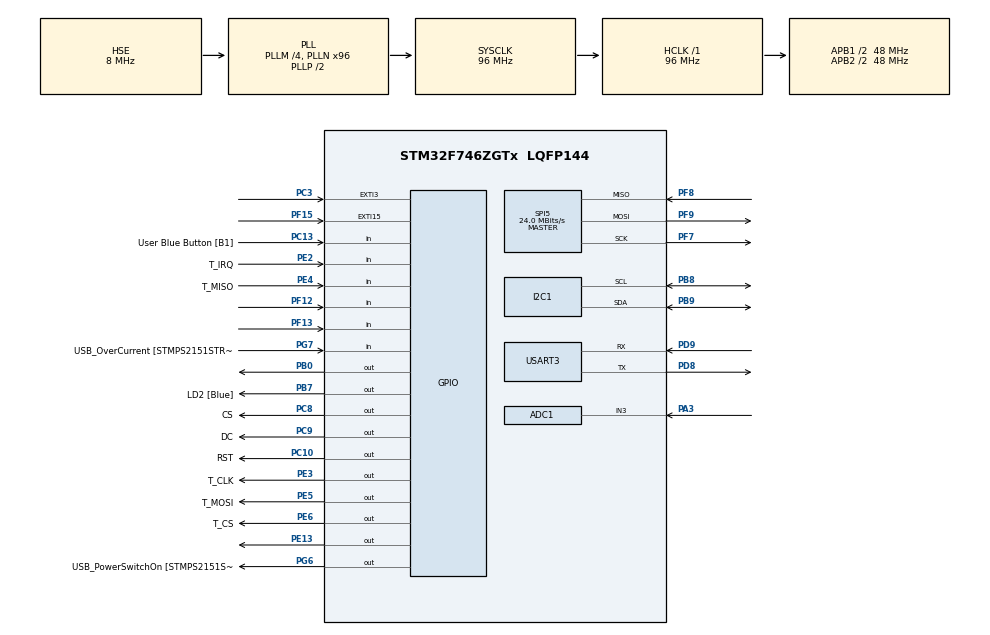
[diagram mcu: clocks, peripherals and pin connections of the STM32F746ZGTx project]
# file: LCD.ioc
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ADC1.Channel-0\#ChannelRegularConversion=ADC_CHANNEL_3
ADC1.ExternalTrigConv=ADC_EXTERNALTRIGCONV_T6_TRGO
ADC1.NbrOfConversionFlag=1
ADC1.Rank-0\#ChannelRegularConversion=1
ADC1.SamplingTime-0\#ChannelRegularConversion=ADC_SAMPLETIME_3CYCLES
ADC1.master=1
CORTEX_M7.ART_ACCLERATOR_ENABLE=1
CORTEX_M7.CPU_DCache=Enabled
CORTEX_M7.CPU_ICache=Enabled
CORTEX_M7.FlashInterface=AXI_Enabled
CORTEX_M7.PREFETCH_ENABLE=1
CORTEX_M7.default_mode_Activation=1
Dma.ADC1.0.Direction=DMA_PERIPH_TO_MEMORY
Dma.ADC1.0.FIFOMode=DMA_FIFOMODE_DISABLE
Dma.ADC1.0.Instance=DMA2_Stream0
Dma.ADC1.0.MemDataAlignment=DMA_MDATAALIGN_HALFWORD
Dma.ADC1.0.MemInc=DMA_MINC_ENABLE
Dma.ADC1.0.Mode=DMA_CIRCULAR
Dma.ADC1.0.PeriphDataAlignment=DMA_PDATAALIGN_HALFWORD
Dma.ADC1.0.PeriphInc=DMA_PINC_DISABLE
Dma.ADC1.0.Priority=DMA_PRIORITY_LOW
Dma.Request0=ADC1
I2C1.Timing=0x20303E5D
Mcu.Family=STM32F7
Mcu.Name=STM32F746ZGTx
Mcu.Package=LQFP144
NVIC.DMA2_Stream0_IRQn=true\:2\:0\:true\:false\:true\:false\:true\:true
NVIC.EXTI15_10_IRQn=true\:1\:0\:true\:false\:true\:true\:true\:true
NVIC.PriorityGroup=NVIC_PRIORITYGROUP_4
PA1.GPIO_Label=RMII_REF_CLK [LAN8742A-CZ-TR_REFCLK0]
PA1.Signal=ETH_REF_CLK
PA10.GPIO_Label=USB_ID
PA10.Signal=USB_OTG_FS_ID
PA11.GPIO_Label=USB_DM
PA11.Signal=USB_OTG_FS_DM
PA12.GPIO_Label=USB_DP
PA12.Signal=USB_OTG_FS_DP
PA13.GPIO_Label=TMS
PA13.Signal=SYS_JTMS-SWDIO
PA14.GPIO_Label=TCK
PA14.Signal=SYS_JTCK-SWCLK
PA2.GPIO_Label=RMII_MDIO [LAN8742A-CZ-TR_MDIO]
PA2.Signal=ETH_MDIO
PA3.Signal=ADCx_IN3
PA7.GPIO_Label=RMII_CRS_DV [LAN8742A-CZ-TR_CRS_DV]
PA7.Signal=ETH_CRS_DV
PA8.GPIO_Label=USB_SOF [TP1]
PA8.Signal=USB_OTG_FS_SOF
PA9.GPIO_Label=USB_VBUS
PA9.Signal=USB_OTG_FS_VBUS
PB0.Signal=GPIO_Output
PB3.GPIO_Label=SWO
PB3.Signal=SYS_JTDO-SWO
PB7.GPIO_Label=LD2 [Blue]
PB7.Signal=GPIO_Output
PB8.Mode=I2C
PB8.Signal=I2C1_SCL
PB9.Mode=I2C
PB9.Signal=I2C1_SDA
PC1.GPIO_Label=RMII_MDC [LAN8742A-CZ-TR_MDC]
PC1.Signal=ETH_MDC
PC10.GPIO_Label=RST
PC10.GPIO_Speed=GPIO_SPEED_FREQ_VERY_HIGH
PC10.Signal=GPIO_Output
PC13.GPIO_Label=User Blue Button [B1]
PC13.Signal=GPIO_Input
PC14/OSC32_IN.Mode=LSE-External-Oscillator
PC14/OSC32_IN.Signal=RCC_OSC32_IN
PC15/OSC32_OUT.Mode=LSE-External-Oscillator
PC15/OSC32_OUT.Signal=RCC_OSC32_OUT
PC3.Signal=GPXTI3
PC4.GPIO_Label=RMII_RXD0 [LAN8742A-CZ-TR_RXD0]
PC4.Signal=ETH_RXD0
PC5.GPIO_Label=RMII_RXD1 [LAN8742A-CZ-TR_RXD1]
PC5.Signal=ETH_RXD1
PC8.GPIO_Label=CS
PC8.GPIO_Speed=GPIO_SPEED_FREQ_VERY_HIGH
PC8.Signal=GPIO_Output
PC9.GPIO_Label=DC
PC9.GPIO_Speed=GPIO_SPEED_FREQ_VERY_HIGH
PC9.Signal=GPIO_Output
PD8.Mode=Asynchronous
PD8.Signal=USART3_TX
PD9.Mode=Asynchronous
PD9.Signal=USART3_RX
PE13.Signal=GPIO_Output
PE2.GPIO_Label=T_IRQ
PE2.GPIO_PuPd=GPIO_NOPULL
PE2.Signal=GPIO_Input
PE3.GPIO_Label=T_CLK
PE3.GPIO_Speed=GPIO_SPEED_FREQ_VERY_HIGH
PE3.Signal=GPIO_Output
PE4.GPIO_Label=T_MISO
PE4.GPIO_PuPd=GPIO_PULLUP
PE4.Signal=GPIO_Input
PE5.GPIO_Label=T_MOSI
PE5.GPIO_PuPd=GPIO_NOPULL
PE5.GPIO_Speed=GPIO_SPEED_FREQ_VERY_HIGH
PE5.Signal=GPIO_Output
PE6.GPIO_Label=T_CS
PE6.GPIO_PuPd=GPIO_NOPULL
PE6.GPIO_Speed=GPIO_SPEED_FREQ_VERY_HIGH
PE6.Signal=GPIO_Output
PF12.Signal=GPIO_Input
PF13.Signal=GPIO_Input
PF15.Signal=GPXTI15
PF7.Mode=Full_Duplex_Master
PF7.Signal=SPI5_SCK
PF8.Mode=Full_Duplex_Master
PF8.Signal=SPI5_MISO
PF9.Mode=Full_Duplex_Master
PF9.Signal=SPI5_MOSI
PG11.GPIO_Label=RMII_TX_EN [LAN8742A-CZ-TR_TXEN]
PG11.Signal=ETH_TX_EN
PG13.GPIO_Label=RMII_TXD0 [LAN8742A-CZ-TR_TXD0]
PG13.Signal=ETH_TXD0
PG6.GPIO_Label=USB_PowerSwitchOn [STMPS2151STR_EN]
PG6.Signal=GPIO_Output
PG7.GPIO_Label=USB_OverCurrent [STMPS2151STR_FAULT]
PG7.Signal=GPIO_Input
PH0/OSC_IN.GPIO_Label=MCO [STM32F103CBT6_PA8]
PH0/OSC_IN.Mode=HSE-External-Clock-Source
PH0/OSC_IN.Signal=RCC_OSC_IN
PH1/OSC_OUT.Mode=HSE-External-Clock-Source
PH1/OSC_OUT.Signal=RCC_OSC_OUT
ProjectManager.HeapSize=0x200
ProjectManager.StackSize=0x400
ProjectManager.TargetToolchain=STM32CubeIDE
RCC.48MHZClocksFreq_Value=24000000
RCC.AHBFreq_Value=96000000
RCC.APB1CLKDivider=RCC_HCLK_DIV2
RCC.APB1Freq_Value=48000000
RCC.APB1TimFreq_Value=96000000
RCC.APB2CLKDivider=RCC_HCLK_DIV2
RCC.APB2Freq_Value=48000000
RCC.APB2TimFreq_Value=96000000
RCC.CortexFreq_Value=96000000
RCC.HCLKFreq_Value=96000000
RCC.HSE_VALUE=8000000
RCC.HSI_VALUE=16000000
RCC.PLLM=4
RCC.PLLMUL=RCC_PLL_MUL9
RCC.PLLN=96
RCC.PLLQ=4
RCC.PLLSourceVirtual=RCC_PLLSOURCE_HSE
RCC.PRESCALERUSB=RCC_USBCLKSOURCE_PLL_DIV1_5
RCC.SYSCLKFreq_VALUE=96000000
RCC.SYSCLKSource=RCC_SYSCLKSOURCE_PLLCLK
RCC.SYSCLKSourceVirtual=RCC_SYSCLKSOURCE_PLLCLK
RCC.USBFreq_Value=48000000
RCC.VCOOutputFreq_Value=192000000
SH.ADCx_IN3.0=ADC1_IN3,IN3
SPI5.BaudRatePrescaler=SPI_BAUDRATEPRESCALER_2
SPI5.CalculateBaudRate=24.0 MBits/s
SPI5.DataSize=SPI_DATASIZE_8BIT
SPI5.Direction=SPI_DIRECTION_2LINES
SPI5.Mode=SPI_MODE_MASTER
SPI5.NSSPMode=SPI_NSS_PULSE_DISABLE
SPI5.VirtualType=VM_MASTER
TIM2.Prescaler=95
TIM6.Period=2499
TIM6.Prescaler=95
TIM6.TIM_MasterOutputTrigger=TIM_TRGO_UPDATE
USART3.VirtualMode-Asynchronous=VM_ASYNC
VP_RNG_VS_RNG.Mode=RNG_Activate
VP_TIM2_VS_ClockSourceINT.Mode=Internal
VP_TIM6_VS_ClockSourceINT.Mode=Enable_Timer
board=NUCLEO-F746ZG

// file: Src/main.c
/* USER CODE BEGIN Header */
/**
  ******************************************************************************
  * @file           : main.c
  * @brief          : Main program body (LCD + sensors merged)
  ******************************************************************************
  * @attention
  *
  * Copyright (c) 2026 STMicroelectronics.
  * All rights reserved.
  *
  * This software is licensed under terms that can be found in the LICENSE file
  * in the root directory of this software component.
  * If no LICENSE file comes with this software, it is provided AS-IS.
  *
  ******************************************************************************
  */
/* USER CODE END Header */
#include "main.h"
#include "adc.h"
#include "dma.h"
#include "i2c.h"
#include "rng.h"
#include "spi.h"
#include "tim.h"
#include "usart.h"
#include "gpio.h"

/* USER CODE BEGIN Includes */
#include <stdio.h>
#include <string.h>
#include <math.h>

/* Sensor side (included first so the ILI9341 colour macros RED/GREEN/... cannot leak into these headers) */
#include "ecg_rpeak.h"
#include "max30102.h"
#include "pwv_metrics.h"

/* LCD side */
#include "lcd_module.h"
#include "ILI9341_Touchscreen.h"      // TP_Touchpad_Pressed
#include "ILI9341_STM32_Driver.h"     // ILI9341_Init
#include "ILI9341_GFX.h"
/* USER CODE END Includes */

/* USER CODE BEGIN PD */
#define ECG_BUF_LEN      512
#define ECG_HALF         (ECG_BUF_LEN / 2)
#define ECG_AVG_N        8      /* ต้องเป็นยกกำลัง 2 (ที่ 200 Hz ค่า 4 ตัด 50 Hz พอดี)  ไฟบ้าน 50 เลยใช่ 4 200/50 = 4*/
#define ECG_UART_ENABLE  1
/* 1 = print the [DMA] ADC/DMA register line every 2 s. It uses HAL_Delay(5) inside the main loop,
 * so leave it 0 normally and only switch it on to debug the ECG chain. */
#define ECG_DEBUG_UART   0
#define ECG_FILTER_DELAY_US  (((ECG_AVG_N - 1U) * 1000000UL) / (2U * ECG_FS_HZ))

/* LCD: draw ~100 ECG columns per second (one sweep of 320 px = ~3.2 s). Increase to sweep slower. */
#define ECG_DISP_DECIM   ((ECG_FS_HZ) / 100U)

/* Pins used by the sensor side (PE13 = D3 buzzer, PB0 = LD1). Skipped if main.h already defines them. */
#ifndef BUZZER_PORT
#define BUZZER_PORT      GPIOE
#define BUZZER_PIN       GPIO_PIN_13
#endif
#ifndef LED1_PORT
#define LED1_PORT        GPIOB
#define LED1_PIN         GPIO_PIN_0
#endif
/* USER CODE END PD */

/* USER CODE BEGIN PV */
/* ---- LCD ---- */
/* Everything the LCD draws (t_collected_data from lcd_module.h), filled by lcd_collect() */
static t_collected_data data = { .is_finger = 0, .height = 0 };

/* ---- Sensors ---- */
/* ตัวแปรและฟังก์ชันควบคุม Buzzer แจ้งเตือน 3 วินาที (Non-blocking) */
static uint32_t s_buzzer_off_tick = 0;
static uint8_t  s_session_started = 0;

static inline void buzzer_trigger_3s(void)
{
  HAL_GPIO_WritePin(BUZZER_PORT, BUZZER_PIN, GPIO_PIN_SET);
  HAL_GPIO_WritePin(LED1_PORT, LED1_PIN, GPIO_PIN_SET);
  s_buzzer_off_tick = HAL_GetTick() + 3000;
}

static inline void buzzer_update(void)
{
//  if (s_buzzer_off_tick > 0 && HAL_GetTick() >= s_buzzer_off_tick)
//  {
//    HAL_GPIO_WritePin(BUZZER_PORT, BUZZER_PIN, GPIO_PIN_RESET);
//    HAL_GPIO_WritePin(LED1_PORT, LED1_PIN, GPIO_PIN_RESET);
//    s_buzzer_off_tick = 0;
//  }
}

__attribute__((aligned(32))) uint16_t ecg_buf[ECG_BUF_LEN];

/* ค่าที่กรองแล้ว ตำแหน่งตรงกับ ecg_buf ใช้ดูเป็น Array ใน CubeMonitor */
volatile uint16_t ecg_filt[ECG_BUF_LEN];
/* ค่าล่าสุดที่กรองแล้ว ใช้ทำกราฟ time series ใน CubeMonitor */
volatile uint16_t ecg_monitor = 0;

/* ตัวแปรสำหรับแสดงผลกราฟ PPG, IR AC, Red AC ใน STM32CubeMonitor และ Serial Plotter */
volatile uint16_t ppg_monitor    = 2048;         /* สัญญาณ PPG AC (IR AC) สเกลเดียวกับ ECG (0 - 4095) */
volatile uint16_t ir_ac_monitor  = 2048;         /* สัญญาณ IR AC (Infrared) สเกล 0 - 4095 กึ่งกลางที่ 2048 */
volatile uint16_t red_ac_monitor = 2048;         /* สัญญาณ Red AC (แสงสีแดง) สเกล 0 - 4095 กึ่งกลางที่ 2048 */
volatile uint32_t ppg_ir_raw     = 0;            /* สัญญาณดิบ Infrared จาก MAX30102 */
volatile uint16_t ppg_filt[ECG_BUF_LEN];        /* บัฟเฟอร์ PPG array สำหรับดูรูปคลื่นคู่กับ ecg_filt */

static uint16_t last_idx = 0;
static uint16_t avg_hist[ECG_AVG_N];
static uint32_t avg_sum = 0;
static uint8_t  avg_k = 0;

#if ECG_UART_ENABLE
static uint32_t last_r_cnt = 0;
#endif
/* USER CODE END PV */

void SystemClock_Config(void);
static void MPU_Config(void);
/* USER CODE BEGIN PFP */
static uint8_t contact_valid(const PWV_Metrics_t *m, uint32_t cur_ir);
static void    lcd_collect(const PWV_Metrics_t *m, uint32_t cur_ir);
static void    height_apply_once(void);
static void    sensor_task(void);
static void    uart_report_task(void);
static void    lcd_task(void);
/* USER CODE END PFP */

/* USER CODE BEGIN 0 */
/**
* @brief  TIM2 Period-Elapsed callback — เรียกทุก 5 ms (200 Hz)
*         อ่าน ADC แล้วส่งผ่าน ecg_filter() → rpeak_update()
*/

/* moving average ECG_AVG_N จุด */
static inline uint16_t ecg_filter(uint16_t x)
{
  avg_sum += (uint32_t)x - avg_hist[avg_k];
  avg_hist[avg_k] = x;
  avg_k = (avg_k + 1) & (ECG_AVG_N - 1);
  return (uint16_t)(avg_sum / ECG_AVG_N);
}

/* ---- HRV (RMSSD) from the ECG R-R intervals ----
 * RMSSD = sqrt( mean( (RR[i+1] - RR[i])^2 ) ) over the last HRV_N accepted intervals.
 * Intervals outside 300..2000 ms, or jumping > 30 % from the previous one, are treated as
 * artifacts (missed / extra R peak) and skipped. After 3 skips in a row the gate re-seeds. */
#define HRV_N        30
#define HRV_MIN_N    10     /* need at least this many intervals before reporting */
static uint16_t hrv_rr[HRV_N];
static uint8_t  hrv_head = 0;
static uint8_t  hrv_cnt  = 0;
static float    hrv_rmssd_ms = 0.0f;

static void hrv_add_rr(uint32_t rr_ms)
{
  static uint16_t prev = 0;
  static uint8_t  rejected = 0;

  if (rr_ms < 300U || rr_ms > 2000U) return;

  if (prev != 0U && rejected < 3U)
  {
    uint32_t d = (rr_ms > prev) ? (rr_ms - prev) : (prev - rr_ms);
    if (d * 100U > 30U * (uint32_t)prev) { rejected++; return; }
  }
  rejected = 0;
  prev = (uint16_t)rr_ms;

  hrv_rr[hrv_head] = prev;
  hrv_head = (uint8_t)((hrv_head + 1U) % HRV_N);
  if (hrv_cnt < HRV_N) hrv_cnt++;

  if (hrv_cnt >= HRV_MIN_N)
  {
    uint8_t  i = (uint8_t)((hrv_head + HRV_N - hrv_cnt) % HRV_N);   /* oldest */
    float    sum = 0.0f;
    for (uint8_t k = 1; k < hrv_cnt; k++)
    {
      uint8_t j = (uint8_t)((i + 1U) % HRV_N);
      float   d = (float)hrv_rr[j] - (float)hrv_rr[i];
      sum += d * d;
      i = j;
    }
    hrv_rmssd_ms = sqrtf(sum / (float)(hrv_cnt - 1U));
  }
}

/* ADC overrun recovery: once ADC1->SR.OVR is set, the DMA stops getting requests
 * (NDTR frozen, EOC stuck at 1). Clear it and restart the circular DMA. */
static volatile uint32_t adc_ovr_count = 0;
static void adc_recover_if_overrun(void)
{
  if (ADC1->SR & ADC_SR_OVR)
  {
    adc_ovr_count++;
    HAL_ADC_Stop_DMA(&hadc1);
    __HAL_ADC_CLEAR_FLAG(&hadc1, ADC_FLAG_OVR);
    last_idx = 0;                                   /* DMA restarts at index 0 */
    HAL_ADC_Start_DMA(&hadc1, (uint32_t *)ecg_buf, ECG_BUF_LEN);
    ADC1->CR2 |= ADC_CR2_DDS;
  }
}

/* ประมวลผลทุกตัวอย่างใหม่ที่ DMA เขียนเข้ามา */
static void ecg_process(void)
{
  adc_recover_if_overrun();

  uint16_t idx = ECG_BUF_LEN - (uint16_t)__HAL_DMA_GET_COUNTER(hadc1.DMA_Handle);
  if (idx >= ECG_BUF_LEN) idx = 0;

  if (idx == last_idx) return;

  /* ถ้าเปิด D-Cache ไว้ ต้อง invalidate ก่อนอ่านข้อมูลที่ DMA เขียน */
  if (SCB->CCR & SCB_CCR_DC_Msk)
  {
    SCB_InvalidateDCache_by_Addr((uint32_t *)ecg_buf, sizeof(ecg_buf));
  }

  while (last_idx != idx)
  {
    uint16_t y = ecg_filter(ecg_buf[last_idx]);
    ecg_filt[last_idx] = y;
    ecg_monitor = y;
    ppg_filt[last_idx] = ppg_monitor;

    rpeak_update(y);
    if (r_peak_count != last_r_cnt)
    {
        last_r_cnt = r_peak_count;
        uint32_t t_r = r_peak_time_us - ECG_FILTER_DELAY_US;      /* หักดีเลย์ตัวกรองแล้ว */
        pwv_metrics_feed_ecg_rpeak(t_r, heart_rate_bpm, rr_last_ms);
        hrv_add_rr((uint32_t)rr_last_ms);
    }

    /* LCD: draw every ECG_DISP_DECIM-th filtered sample (does nothing unless the main screen is showing) */
    {
      static uint8_t disp_cnt = 0;
      if (++disp_cnt >= ECG_DISP_DECIM)
      {
        disp_cnt = 0;
        display_ecg_push(y);
      }
    }

    last_idx = (last_idx + 1) % ECG_BUF_LEN;
  }
}

#if ECG_UART_ENABLE
void HAL_ADC_ConvHalfCpltCallback(ADC_HandleTypeDef *hadc)
{
  (void)hadc;
}

void HAL_ADC_ConvCpltCallback(ADC_HandleTypeDef *hadc)
{
  (void)hadc;
}
#endif
/* USER CODE END 0 */

int main(void)
{

  /* MPU Configuration--------------------------------------------------------*/
  MPU_Config();

  /* Enable the CPU Cache */

  /* Enable I-Cache---------------------------------------------------------*/
  SCB_EnableICache();

  /* Enable D-Cache---------------------------------------------------------*/
  SCB_EnableDCache();

  /* MCU Configuration--------------------------------------------------------*/

  /* Reset of all peripherals, Initializes the Flash interface and the Systick. */
  HAL_Init();

  /* Configure the system clock */
  SystemClock_Config();

  /* Initialize all configured peripherals */
  MX_GPIO_Init();
  MX_DMA_Init();
  MX_RNG_Init();
  MX_SPI5_Init();
  MX_ADC1_Init();
  MX_I2C1_Init();
  MX_TIM2_Init();
  MX_TIM6_Init();
  MX_USART3_UART_Init();
  /* USER CODE BEGIN 2 */
  /* ---- LCD first: ILI9341_Init() blocks for > 1 s, so it must run before the ADC/DMA and timers start ---- */
  ILI9341_Init();
  display_init();
  display_ecg_set_scale(ECG_SCALE_AUTO, 250);

  /* ---- Sensors ---- */
  rpeak_init();
  /* adc.c is generated with DMAContinuousRequests = DISABLE (DDS = 0): the ADC then stops issuing
   * DMA requests after the first full circular pass -> OVR. Force it on here. Also fix it in
   * CubeMX (ADC1 > Parameter Settings > DMA Continuous Requests = Enabled) so regeneration keeps it. */
  hadc1.Init.DMAContinuousRequests = ENABLE;
  HAL_StatusTypeDef adc_st = HAL_ADC_Start_DMA(&hadc1, (uint32_t *)ecg_buf, ECG_BUF_LEN);
  ADC1->CR2 |= ADC_CR2_DDS;   /* force DDS = 1 in hardware; do not rely on the HAL to apply the Init field */
  {
    /* TEMP debug: 0 = OK. Remove when the ECG works. */
    char b[40];
    int n = snprintf(b, sizeof(b), "ADC DMA start: %d\r\n", (int)adc_st);
    HAL_UART_Transmit(&huart3, (uint8_t *)b, (uint16_t)n, 100);
  }
  HAL_TIM_Base_Start(&htim2);
  HAL_TIM_Base_Start(&htim6);                        /* เริ่ม trigger ADC 400 Hz */
  rpeak_set_t0(__HAL_TIM_GET_COUNTER(&htim2));       /* จดเวลา TIM2 ทันทีหลังเริ่ม TIM6 */

  /* PWV metrics init. Height = default of the height page (175 cm) until the user presses OK. */
  pwv_metrics_init(0.0f);
  pwv_metrics_set_height_cm((float)display_get_height());   /* arm length L = height * 0.45 / 100 m */

  /* เริ่มต้นเซนเซอร์ MAX30102 */
  if (max30102_init(&hi2c1) == HAL_OK)
  {
    const char *msg = "MAX30102 Init OK\r\n";
    HAL_UART_Transmit(&huart3, (uint8_t *)msg, (uint16_t)strlen(msg), 100);
  }
  else
  {
    const char *msg = "MAX30102 Init Failed\r\n";
    HAL_UART_Transmit(&huart3, (uint8_t *)msg, (uint16_t)strlen(msg), 100);
  }
  /* USER CODE END 2 */

  /* Infinite loop */
  while (1)
  {

    /* USER CODE BEGIN 3 */
    sensor_task();          /* ECG DMA samples, MAX30102 FIFO, PWV metrics: keep this loop fast, no HAL_Delay here */
    uart_report_task();     /* Tera Term report + finger-loss handling, every 2 s */
    lcd_task();             /* touch + screen refresh */
  }
  /* USER CODE END 3 */
}

void SystemClock_Config(void)
{
  RCC_OscInitTypeDef RCC_OscInitStruct = {0};
  RCC_ClkInitTypeDef RCC_ClkInitStruct = {0};

  /** Configure LSE Drive Capability
  */
  HAL_PWR_EnableBkUpAccess();

  /** Configure the main internal regulator output voltage
  */
  __HAL_RCC_PWR_CLK_ENABLE();
  __HAL_PWR_VOLTAGESCALING_CONFIG(PWR_REGULATOR_VOLTAGE_SCALE3);

  /** Initializes the RCC Oscillators according to the specified parameters
  * in the RCC_OscInitTypeDef structure.
  */
  RCC_OscInitStruct.OscillatorType = RCC_OSCILLATORTYPE_HSE;
  RCC_OscInitStruct.HSEState = RCC_HSE_BYPASS;
  RCC_OscInitStruct.PLL.PLLState = RCC_PLL_ON;
  RCC_OscInitStruct.PLL.PLLSource = RCC_PLLSOURCE_HSE;
  RCC_OscInitStruct.PLL.PLLM = 4;
  RCC_OscInitStruct.PLL.PLLN = 96;
  RCC_OscInitStruct.PLL.PLLP = RCC_PLLP_DIV2;
  RCC_OscInitStruct.PLL.PLLQ = 4;
  if (HAL_RCC_OscConfig(&RCC_OscInitStruct) != HAL_OK)
  {
    Error_Handler();
  }

  /** Activate the Over-Drive mode
  */
  if (HAL_PWREx_EnableOverDrive() != HAL_OK)
  {
    Error_Handler();
  }

  /** Initializes the CPU, AHB and APB buses clocks
  */
  RCC_ClkInitStruct.ClockType = RCC_CLOCKTYPE_HCLK|RCC_CLOCKTYPE_SYSCLK
                              |RCC_CLOCKTYPE_PCLK1|RCC_CLOCKTYPE_PCLK2;
  RCC_ClkInitStruct.SYSCLKSource = RCC_SYSCLKSOURCE_PLLCLK;
  RCC_ClkInitStruct.AHBCLKDivider = RCC_SYSCLK_DIV1;
  RCC_ClkInitStruct.APB1CLKDivider = RCC_HCLK_DIV2;
  RCC_ClkInitStruct.APB2CLKDivider = RCC_HCLK_DIV2;

  if (HAL_RCC_ClockConfig(&RCC_ClkInitStruct, FLASH_LATENCY_3) != HAL_OK)
  {
    Error_Handler();
  }
}

/* USER CODE BEGIN 4 */
void HAL_GPIO_EXTI_Callback(uint16_t GPIO_Pin)
{
  if (GPIO_Pin == GPIO_PIN_15) /* สัญญาณ Interrupt จาก MAX30102 */
  {
    max30102_interrupt_handler(__HAL_TIM_GET_COUNTER(&htim2));
  }
}

/* เงื่อนไขสัญญาณผ่านเกณฑ์ทางการแพทย์: มีนิ้ว และ PI >= 0.4% (ไม่เกิน 20.0%) */
static uint8_t contact_valid(const PWV_Metrics_t *m, uint32_t cur_ir)
{
  return (cur_ir >= 10000 && m->finger_detected && m->pi_pct >= 0.4f && m->pi_pct <= 20.0f);
}

/* Sensors + height page -> t_collected_data (what display_update() draws) */
static void lcd_collect(const PWV_Metrics_t *m, uint32_t cur_ir)
{
  data.is_finger = contact_valid(m, cur_ir);
  data.bpm       = (uint16_t)m->hr_bpm;
  data.pi        = m->pi_pct;

  /* SpO2: 10 s average once the baseline is locked, running value before that */
  float spo2 = m->baseline_locked ? m->spo2_avg_10s : m->spo2_pct;
  data.spo2 = (uint8_t)(spo2 + 0.5f);

  /* Vascular age: a new value is taken only when the baseline is locked and valid. It is then HELD,
   * so it stays on the LCD after the finger is lifted (pwv_metrics_init() on finger loss clears the
   * module's own value, but not this copy). It shows 0 until the first lock. A later lock replaces it. */
  {
    static float s_vage_held = 0.0f;
    if (m->baseline_locked && m->height_ready && m->pwv_mps > 0.0f && m->vascular_age > 0.0f)
    {
      s_vage_held = m->vascular_age;
    }
    data.vascular_age = s_vage_held;
  }

  /* Height [cm]: stays 0 until OK is pressed on the height page, then holds the entered value.
   * (display_update() takes a const pointer, so the display layer cannot write it for us.) */
  if (display_get_screen() != SCREEN_HEIGHT)
  {
    data.height = display_get_height();
  }

  /* HRV: RMSSD in ms, 0 until HRV_MIN_N valid R-R intervals have been collected */
  data.hrv_rmssd = (hrv_cnt >= HRV_MIN_N) ? hrv_rmssd_ms : 0.0f;

  /* TODO: not provided by the sensor code yet -> data.bp_sys, data.bp_dia stay at 0 */
}

static void sensor_task(void)
{
  ecg_process();

  /* อ่านข้อมูลตัวอย่างจาก MAX30102 เข้า Ring Buffer */
  max30102_process_fifo();

  uint32_t ppg_red = 0, ppg_ir = 0, ppg_ts = 0;
  while (max30102_pop_sample(&ppg_red, &ppg_ir, &ppg_ts))
  {
    /* ป้อนข้อมูล PPG พร้อม Timestamp จาก TIM2 เข้าสู่ระบบประมวลผล */
    pwv_metrics_feed_ppg(ppg_red, ppg_ir, ppg_ts);
    ppg_ir_raw = ppg_ir;
    ir_ac_monitor = pwv_metrics_get_ir_ac_plot();
    red_ac_monitor = pwv_metrics_get_red_ac_plot();
    ppg_monitor = ir_ac_monitor;
  }

  /* อัปเดตสถานะ Buzzer (ดับเองอัตโนมัติเมื่อครบ 3 วินาทีแบบ Non-blocking ไม่บล็อกระบบ) */
  buzzer_update();
}

/* ตรวจสอบสถานะและรายงานผลออกทาง UART (Tera Term) ทุกๆ 2 วินาที */
static void uart_report_task(void)
{
  static uint32_t last_report_tick = 0;
  if (HAL_GetTick() - last_report_tick < 2000)
  {
    return;
  }
  last_report_tick = HAL_GetTick();

  if (!max30102_is_ready())
  {
    max30102_init(&hi2c1);
  }

  PWV_Metrics_t m;
  pwv_metrics_get(&m);
  uint32_t cur_ir = max30102_get_last_ir();
  char rep_str[220];
  int len;

  /* เงื่อนไขสัญญาณผ่านเกณฑ์ทางการแพทย์: มีนิ้ว และ PI >= 0.4% (ไม่เกิน 20.0%) */
  uint8_t valid = contact_valid(&m, cur_ir);

  if (valid)
  {
    /* วางนิ้วแล้วตรวจพบสัญญาณผ่านเกณฑ์รอบแรก -> บันทึกว่า session เริ่มต้นแล้ว */
    s_session_started = 1;

    int spo2_10s_i = (int)m.spo2_avg_10s;
    int spo2_10s_f = (int)((m.spo2_avg_10s - (float)spo2_10s_i) * 10.0f + 0.5f);
    if (spo2_10s_f >= 10) { spo2_10s_i++; spo2_10s_f = 0; }

    int pi_i = (int)m.pi_pct;
    int pi_f = (int)((m.pi_pct - (float)pi_i) * 100.0f + 0.5f);
    if (pi_f >= 100) { pi_i++; pi_f = 0; }

    int ptt_i = (int)m.ptt_ms;
    int ptt_f = (int)((m.ptt_ms - (float)ptt_i) * 10.0f + 0.5f);
    if (ptt_f >= 10) { ptt_i++; ptt_f = 0; }

    if (m.baseline_locked)
    {
      /* หลัง 20 วินาที: ล็อก PTT และ อายุหลอดเลือดไว้คงที่ พร้อมแสดง SpO2 เฉลี่ยทุก 10 วินาที */
      if (m.height_ready && m.pwv_mps > 0.0f)
      {
        int pwv_i = (int)m.pwv_mps;
        int pwv_f = (int)((m.pwv_mps - (float)pwv_i) * 100.0f + 0.5f);
        if (pwv_f >= 100) { pwv_i++; pwv_f = 0; }
        int vage = (int)(m.vascular_age + 0.5f);
        len = snprintf(rep_str, sizeof(rep_str),
                       "[A-08 2s] ECG_HR:%u bpm | PTT:%d.%d ms (LOCKED) | PWV:%d.%02d m/s | V-Age:%d yr (LOCKED) | SpO2:%d.%d%% (10s Avg) | PI:%d.%02d%%\r\n",
                       (unsigned int)m.hr_bpm, ptt_i, ptt_f, pwv_i, pwv_f, vage, spo2_10s_i, spo2_10s_f, pi_i, pi_f);
      }
      else
      {
        len = snprintf(rep_str, sizeof(rep_str),
                       "[A-08 2s] ECG_HR:%u bpm | PTT:%d.%d ms (LOCKED) | SpO2:%d.%d%% (10s Avg) | PI:%d.%02d%%\r\n",
                       (unsigned int)m.hr_bpm, ptt_i, ptt_f, spo2_10s_i, spo2_10s_f, pi_i, pi_f);
      }
    }
    else
    {
      /* ในช่วง 20 วินาทีแรก: แสดงค่า PTT สะสม และเปอร์เซ็นต์นับถอยหลังการเก็บ Baseline */
      int spo2_i = (int)m.spo2_pct;
      int spo2_f = (int)((m.spo2_pct - (float)spo2_i) * 10.0f + 0.5f);
      if (spo2_f >= 10) { spo2_i++; spo2_f = 0; }

      len = snprintf(rep_str, sizeof(rep_str),
                     "[A-08 2s] ECG_HR:%u bpm | PTT:%d.%d ms | SpO2:%d.%d%% | PI:%d.%02d%% | [Baseline 20s: %u%%]\r\n",
                     (unsigned int)m.hr_bpm, ptt_i, ptt_f, spo2_i, spo2_f, pi_i, pi_f, (unsigned int)m.calib_progress_pct);
    }
  }
  else
  {
    /* สัญญาณไม่ผ่านเกณฑ์ (PI < 0.4% หรือ ไม่มีนิ้ว) -> ห้ามขึ้นค่าต่างๆ ที่ MAX30102 อ่านได้เลย! */
    if (s_session_started)
    {
      /* เคยตรวจพบ finger detect รอบแรกแล้ว แต่เกิดขยับนิ้ว หรือ PI < 0.4% หรือนิ้วหลุด:
       * 1. สั่ง Buzzer ดัง 3 วินาที
       * 2. Reset ค่า finger detect รอบแรกและรีเซ็ต baseline เพื่อเริ่มใหม่ */
      buzzer_trigger_3s();
      s_session_started = 0;
      pwv_metrics_init(0.0f);
      pwv_metrics_set_height_cm((float)display_get_height());   /* keep the height the user entered */

      int pi_i = (int)m.pi_pct;
      int pi_f = (int)((m.pi_pct - (float)pi_i) * 100.0f + 0.5f);
      if (pi_f >= 100) { pi_i++; pi_f = 0; }

      len = snprintf(rep_str, sizeof(rep_str),
                     "[A-08 2s] ECG_HR:%u bpm | [WARN] PI < 0.4%% (PI:%d.%02d%%) / Finger Lost -> BUZZER ON (3s) & RESET!\r\n",
                     (unsigned int)m.hr_bpm, pi_i, pi_f);
    }
    else
    {
      /* สถานะรอนิ้วรอบแรก: แสดงเฉพาะ ECG_HR ห้ามแสดงค่าใดๆ ของ MAX30102 */
      if (cur_ir < 10000)
      {
        len = snprintf(rep_str, sizeof(rep_str),
                       "[A-08 2s] ECG_HR:%u bpm | MAX30102: No Finger Touch\r\n",
                       (unsigned int)m.hr_bpm);
      }
      else
      {
        int pi_i = (int)m.pi_pct;
        int pi_f = (int)((m.pi_pct - (float)pi_i) * 100.0f + 0.5f);
        if (pi_f >= 100) { pi_i++; pi_f = 0; }
        len = snprintf(rep_str, sizeof(rep_str),
                       "[A-08 2s] ECG_HR:%u bpm | MAX30102: PI < 0.4%% (PI:%d.%02d%%) - Waiting for stable contact...\r\n",
                       (unsigned int)m.hr_bpm, pi_i, pi_f);
      }
    }
  }

  HAL_UART_Transmit(&huart3, (uint8_t *)rep_str, (uint16_t)len, 100);

#if ECG_DEBUG_UART
  /* Debug: DMA / ADC state.
   *  - ndtr n1->n2 : read 5 ms apart. At 400 Hz, n2 should be ~2 lower than n1 (wraps 1->512).
   *                  If both are equal, the DMA is NOT running.
   *  - cr          : DMA2_Stream0->CR  (bit0 EN must be 1, bit8 CIRC must be 1)
   *  - adcSR       : ADC1->SR          (bit5 OVR = overrun, bit1 EOC)
   *  - adcCR2      : ADC1->CR2         (bit0 ADON, bit8 DMA, bit9 DDS, bit28-29 EXTEN)
   *  - buf0/1/255  : raw samples straight from the DMA buffer (before the filter)
   *  - min/max     : range of the filtered ecg_filt[] array
   */
  {
    char dbg[256];
    uint16_t lo = 4095, hi = 0;
    uint32_t n1, n2;

    if (SCB->CCR & SCB_CCR_DC_Msk)
    {
      SCB_InvalidateDCache_by_Addr((uint32_t *)ecg_buf, sizeof(ecg_buf));
    }
    for (uint16_t i = 0; i < ECG_BUF_LEN; i++)
    {
      uint16_t v = ecg_filt[i];
      if (v < lo) lo = v;
      if (v > hi) hi = v;
    }

    n1 = DMA2_Stream0->NDTR;
    HAL_Delay(5);
    n2 = DMA2_Stream0->NDTR;

    int n = snprintf(dbg, sizeof(dbg),
        "[DMA] ndtr:%lu->%lu cr:0x%lx adcSR:0x%lx adcCR2:0x%lx last_idx:%u buf0:%u buf1:%u buf255:%u | min:%u max:%u rpk:%lu hr:%u ovr:%lu\r\n",
        (unsigned long)n1, (unsigned long)n2,
        (unsigned long)DMA2_Stream0->CR,
        (unsigned long)ADC1->SR,
        (unsigned long)ADC1->CR2,
        (unsigned)last_idx,
        (unsigned)ecg_buf[0], (unsigned)ecg_buf[1], (unsigned)ecg_buf[255],
        (unsigned)lo, (unsigned)hi,
        (unsigned long)r_peak_count, (unsigned)heart_rate_bpm,
        (unsigned long)adc_ovr_count);
    HAL_UART_Transmit(&huart3, (uint8_t *)dbg, (uint16_t)n, 100);
  }
#endif /* ECG_DEBUG_UART */
}

/* Runs once, the moment OK is pressed on the height page: gives the height to the PWV
 * calculation and restarts the measurement, so nothing computed with the default height is kept. */
static void height_apply_once(void)
{
  static uint8_t applied = 0;

  if (!applied && display_get_screen() != SCREEN_HEIGHT)
  {
    applied = 1;
    s_session_started = 0;
    pwv_metrics_init(0.0f);
    pwv_metrics_set_height_cm((float)display_get_height());
  }
}

/* LCD: touch handling (height page / page switch) and periodic screen refresh */
static void lcd_task(void)
{
  static uint8_t  touch_prev = 0;
  static uint32_t t_text  = 0;
  static uint32_t t_touch = 0;

  if (display_get_screen() == SCREEN_HEIGHT)
  {
    /* poll while held (250 ms auto-repeat so +/- can be held) */
    if (TP_Touchpad_Pressed() && HAL_GetTick() - t_touch >= 250)
    {
      uint16_t p[2];
      if (TP_Read_Coordinates(p) == TOUCHPAD_DATA_OK)
      {
        display_touch(p[1], 239 - p[0]);   /* portrait -> landscape, see note */
        t_touch = HAL_GetTick();
      }
    }
    touch_prev = 1;      /* swallow the tap that confirmed OK */
  }
  else
  {
    uint8_t touch_now = TP_Touchpad_Pressed() ? 1 : 0;
    if (touch_now && !touch_prev)
    {
      display_next_screen();
      t_text = 0;
    }
    touch_prev = touch_now;
  }

  height_apply_once();   /* no-op until OK is pressed on the height page */

  if (HAL_GetTick() - t_text >= 200)
  {
    PWV_Metrics_t m;
    t_text = HAL_GetTick();
    pwv_metrics_get(&m);
    lcd_collect(&m, max30102_get_last_ir());
    display_update(&data);
  }
}
/* USER CODE END 4 */

 /* MPU Configuration */

void MPU_Config(void)
{
  MPU_Region_InitTypeDef MPU_InitStruct = {0};

  /* Disables the MPU */
  HAL_MPU_Disable();

  /** Initializes and configures the Region and the memory to be protected
  */
  MPU_InitStruct.Enable = MPU_REGION_ENABLE;
  MPU_InitStruct.Number = MPU_REGION_NUMBER0;
  MPU_InitStruct.BaseAddress = 0x0;
  MPU_InitStruct.Size = MPU_REGION_SIZE_4GB;
  MPU_InitStruct.SubRegionDisable = 0x87;
  MPU_InitStruct.TypeExtField = MPU_TEX_LEVEL0;
  MPU_InitStruct.AccessPermission = MPU_REGION_NO_ACCESS;
  MPU_InitStruct.DisableExec = MPU_INSTRUCTION_ACCESS_DISABLE;
  MPU_InitStruct.IsShareable = MPU_ACCESS_SHAREABLE;
  MPU_InitStruct.IsCacheable = MPU_ACCESS_NOT_CACHEABLE;
  MPU_InitStruct.IsBufferable = MPU_ACCESS_NOT_BUFFERABLE;

  HAL_MPU_ConfigRegion(&MPU_InitStruct);
  /* Enables the MPU */
  HAL_MPU_Enable(MPU_PRIVILEGED_DEFAULT);

}

void Error_Handler(void)
{
  __disable_irq();
  while (1)
  {
  }
}
